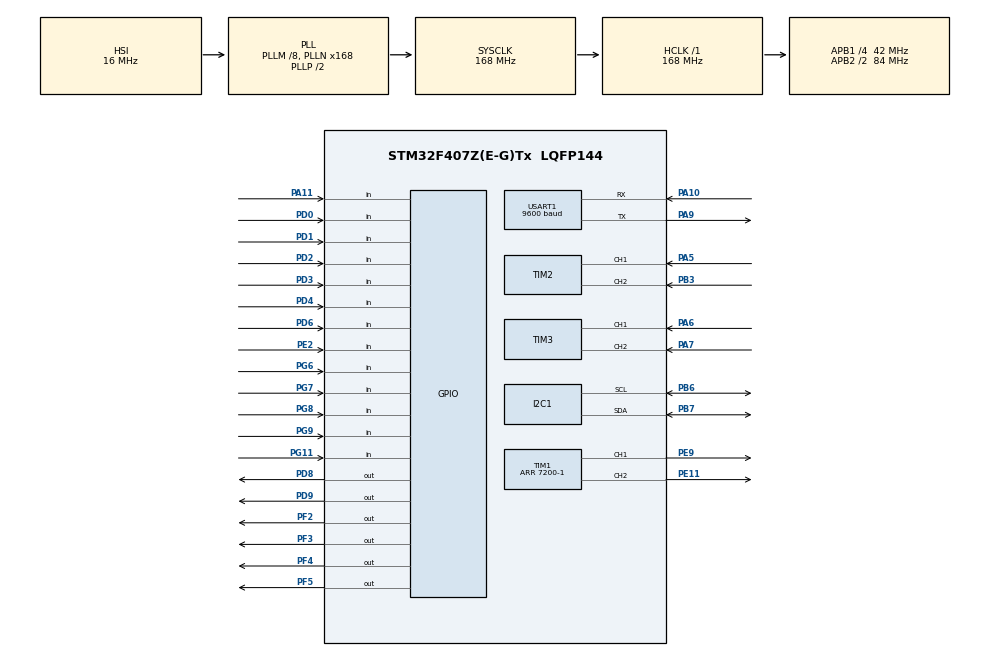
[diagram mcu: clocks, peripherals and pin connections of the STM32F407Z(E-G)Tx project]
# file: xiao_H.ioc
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I2C1.I2C_Mode=I2C_Fast
Mcu.Family=STM32F4
Mcu.Name=STM32F407Z(E-G)Tx
Mcu.Package=LQFP144
NVIC.PriorityGroup=NVIC_PRIORITYGROUP_4
NVIC.TIM4_IRQn=true\:0\:0\:false\:false\:true\:true\:true\:true
NVIC.USART1_IRQn=true\:0\:0\:false\:false\:true\:true\:true\:true
PA10.Mode=Asynchronous
PA10.Signal=USART1_RX
PA11.Signal=GPIO_Input
PA13.Mode=Serial_Wire
PA13.Signal=SYS_JTMS-SWDIO
PA14.Mode=Serial_Wire
PA14.Signal=SYS_JTCK-SWCLK
PA5.GPIO_PuPd=GPIO_PULLUP
PA5.GPIO_Speed=GPIO_SPEED_FREQ_HIGH
PA5.Signal=S_TIM2_CH1_ETR
PA6.GPIO_PuPd=GPIO_PULLUP
PA6.GPIO_Speed=GPIO_SPEED_FREQ_HIGH
PA6.Signal=S_TIM3_CH1
PA7.GPIO_PuPd=GPIO_PULLUP
PA7.GPIO_Speed=GPIO_SPEED_FREQ_HIGH
PA7.Signal=S_TIM3_CH2
PA9.Mode=Asynchronous
PA9.Signal=USART1_TX
PB3.GPIO_PuPd=GPIO_PULLUP
PB3.GPIO_Speed=GPIO_SPEED_FREQ_HIGH
PB3.Signal=S_TIM2_CH2
PB6.Mode=I2C
PB6.Signal=I2C1_SCL
PB7.Mode=I2C
PB7.Signal=I2C1_SDA
PD0.GPIO_PuPd=GPIO_PULLUP
PD0.Signal=GPIO_Input
PD1.GPIO_PuPd=GPIO_PULLUP
PD1.Signal=GPIO_Input
PD2.GPIO_PuPd=GPIO_PULLUP
PD2.Signal=GPIO_Input
PD3.GPIO_PuPd=GPIO_PULLUP
PD3.Signal=GPIO_Input
PD4.GPIO_PuPd=GPIO_PULLUP
PD4.Signal=GPIO_Input
PD6.Signal=GPIO_Input
PD8.Signal=GPIO_Output
PD9.Signal=GPIO_Output
PE11.Signal=S_TIM1_CH2
PE2.Signal=GPIO_Input
PE9.Signal=S_TIM1_CH1
PF2.Signal=GPIO_Output
PF3.Signal=GPIO_Output
PF4.Signal=GPIO_Output
PF5.Signal=GPIO_Output
PG11.Signal=GPIO_Input
PG6.Signal=GPIO_Input
PG7.Signal=GPIO_Input
PG8.Signal=GPIO_Input
PG9.Signal=GPIO_Input
PH0-OSC_IN.Mode=HSE-External-Oscillator
PH0-OSC_IN.Signal=RCC_OSC_IN
PH1-OSC_OUT.Mode=HSE-External-Oscillator
PH1-OSC_OUT.Signal=RCC_OSC_OUT
ProjectManager.HeapSize=0x200
ProjectManager.StackSize=0x400
ProjectManager.TargetToolchain=EWARM V8.50
RCC.48MHZClocksFreq_Value=84000000
RCC.AHBFreq_Value=168000000
RCC.APB1CLKDivider=RCC_HCLK_DIV4
RCC.APB1Freq_Value=42000000
RCC.APB1TimFreq_Value=84000000
RCC.APB2CLKDivider=RCC_HCLK_DIV2
RCC.APB2Freq_Value=84000000
RCC.APB2TimFreq_Value=168000000
RCC.CortexFreq_Value=168000000
RCC.HCLKFreq_Value=168000000
RCC.HSE_VALUE=8000000
RCC.HSI_VALUE=16000000
RCC.LSE_VALUE=32768
RCC.PLLM=8
RCC.PLLN=168
RCC.SYSCLKFreq_VALUE=168000000
RCC.SYSCLKSource=RCC_SYSCLKSOURCE_PLLCLK
RCC.VCOOutputFreq_Value=336000000
SH.S_TIM1_CH1.0=TIM1_CH1,PWM Generation1 CH1
SH.S_TIM1_CH2.0=TIM1_CH2,PWM Generation2 CH2
SH.S_TIM2_CH1_ETR.0=TIM2_CH1,Encoder_Interface
SH.S_TIM2_CH2.0=TIM2_CH2,Encoder_Interface
SH.S_TIM3_CH1.0=TIM3_CH1,Encoder_Interface
SH.S_TIM3_CH2.0=TIM3_CH2,Encoder_Interface
TIM1.Channel-PWM\ Generation1\ CH1=TIM_CHANNEL_1
TIM1.Channel-PWM\ Generation2\ CH2=TIM_CHANNEL_2
TIM1.Period=7200-1
TIM1.Pulse-PWM\ Generation1\ CH1=0
TIM1.Pulse-PWM\ Generation2\ CH2=0
TIM2.EncoderMode=TIM_ENCODERMODE_TI12
TIM3.EncoderMode=TIM_ENCODERMODE_TI12
TIM4.Period=50-1
TIM4.Prescaler=8400-1
USART1.BaudRate=9600
USART1.VirtualMode=VM_ASYNC
VP_TIM4_VS_ClockSourceINT.Mode=Internal
board=custom

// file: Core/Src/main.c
/* USER CODE BEGIN Header */
/**
  ******************************************************************************
  * @file           : main.c
  * @brief          : Main program body
  ******************************************************************************
  * @attention
  *
  * Copyright (c) 2025 STMicroelectronics.
  * All rights reserved.
  *
  * This software is licensed under terms that can be found in the LICENSE file
  * in the root directory of this software component.
  * If no LICENSE file comes with this software, it is provided AS-IS.
  *
  ******************************************************************************
  */
/* USER CODE END Header */
#include "main.h"
#include "i2c.h"
#include "tim.h"
#include "usart.h"
#include "gpio.h"

/* USER CODE BEGIN Includes */
#include "headfile.h"
#include "track.h"

/* USER CODE END Includes */

/* USER CODE BEGIN PD */
//char RxBuffer[256];
// uint8_t aRxBuffer;			//接收中断缓冲
// uint8_t Uart1_Rx_Cnt = 0;		//接收缓冲计数
uint8_t RxBuffer[1];//串口接收缓冲
uint8_t RxLine = 0;//指令长度
extern uint8_t DataBuff[200];//指令内容
/* USER CODE END PD */

void SystemClock_Config(void);
/* USER CODE BEGIN PFP */
void Angle_out(void);
void Angle_out_improve(void);

void Read(void);
void steering_ring(void);//转向�?
void Track_ring(void);//寻迹�?
void one_topic(void);
void two_topic(void);
void three(void);
void four_topic(void);
void eight(void);
/* USER CODE END PFP */

/* USER CODE BEGIN 0 */
//板子上的电机2的PID控制�?
PID_Controller left_pid = {
    .p=160.0f,
    .i=18.0f
};
//板子上的电机1的PID控制�?
PID_Controller right_pid = {
    .p=160.0f,
    .i=18.0f
};
//直走pid控制�?
PID_Controller yaw_pid={
    .p=1.0f,
    .d=1.5f
  };
//寻迹pid控制�?
PID_Controller track_pid_assignment={
//	.p=2.0f
    .p=3.0f,
    .d=5.5f,
};
__IO uint8_t InitOK = 0;
//串口重定�?
int fputc(int ch,FILE *f);
int fgetc(FILE *f);
//转向环变�?
int16_t flag;
int16_t straight_right;
int16_t straight_left;
int16_t pid_turn;
extern unsigned int  rawGyroZ;

//寻迹环变�?
int16_t track_turn,track_left,track_right;
//编码器�?�电�?
uint32_t sys_tick;
int Encoder1,Encoder2;
int Encoder1_last,Encoder2_last;
int16_t left,right,left_last,right_last;
int16_t L_Target_Position, L_Target_Speed;
extern int8_t track_sum;
//�?螺仪1
float yaww,yawl,yaw_init,yaw_out;
int Init_Angle_Flag=1;
float q0, q1, q2, q3;
float roll, pitch, yaw;
extern int8_t track_read[8];

float gyro_Z ;
//按键读高低电�?
struct keys{
  int8_t keys_read;
	int8_t keys_progres;
	int8_t keys_flag;
}key_pd[4]={0,0,0};

//int8_t track_assignment[8];
/* USER CODE END 0 */

int main(void)
{

  /* MCU Configuration--------------------------------------------------------*/

  /* Reset of all peripherals, Initializes the Flash interface and the Systick. */
  HAL_Init();

  /* Configure the system clock */
  SystemClock_Config();

  /* Initialize all configured peripherals */
  MX_GPIO_Init();
  MX_I2C1_Init();
  MX_TIM1_Init();
  MX_TIM2_Init();
  MX_TIM3_Init();
  MX_TIM4_Init();
  MX_USART1_UART_Init();
  /* USER CODE BEGIN 2 */
	//oled初始�?
	OLED_Init();
//	//电机
	HAL_TIM_PWM_Start(&htim1,TIM_CHANNEL_1);
	HAL_TIM_PWM_Start(&htim1,TIM_CHANNEL_2);
//	//编码�?
	HAL_TIM_Encoder_Start(&htim2,TIM_CHANNEL_ALL);
	HAL_TIM_Encoder_Start(&htim3,TIM_CHANNEL_ALL);
	//BNO085 IIC 初始�?
  HAL_UART_Receive_IT(&huart1, RxBuffer, 1);
//	 printf("Init OK!!!\r\n");
	// �?始校准（可�?�）
    // 重置传感�?
	softReset();
	enableRotationVector(2);       // 增加旋转矢量传感器的采样�?
//	enableGameRotationVector(50);  // 保持游戏旋转矢量传感器的采样�?
//	enableAccelerometer(50);       // 保持加�?�度计的采样�?
//	enableLinearAccelerometer(50); // 保持线�?�加速度计的采样�?
	enableGyro(100);                // 增加�?螺仪的采样率以提高精�?
//	enableMagnetometer(50);         // 降低磁力计的采样率以节省功�??
//	enableStepCounter(50);          // 降低步数计数器的采样�?
//	enableStabilityClassifier(50);  // 降低稳定性分类器的采样率
	calibrateAll();//全部校准

	//初始化完成，�?启中�?
	HAL_TIM_Base_Start_IT(&htim4);
  /* USER CODE END 2 */

  /* Infinite loop */
  /* USER CODE BEGIN WHILE */
//	Load(0,0);

//  L_Target_Speed=0;

 //L_Target_Position=30;

//		L_Target_Speed=0;

  while (1)
  {
//			Track_follow();

    flag=3;
    if(key_pd[0].keys_flag==1){three(); key_pd[0].keys_flag=0; }
//		if(One_Sensor1) {L_Target_Speed=0;}

//		HAL_Delay(1000);
//		L_Target_Speed=0;
//		HAL_Delay(1000);

//    else if(key_pd[1].keys_flag==0){OLED_ShowString(1,1,"stop  ");flag=3;Load(0,0); }

//    SendDataToVOFA(L_Target_Speed,Encoder1,Encoder2);

//    Track_follow();
//    Read();
    OLED_ShowString(2,1,"yaw:");
	  OLED_ShowSignedNum(2,5,yawl,3);
//	  OLED_ShowSignedNum(3,0,key_pd[0].keys_flag,3);
//	  OLED_ShowSignedNum(3,5,key_pd[1].keys_flag,3);
//	  OLED_ShowSignedNum(4,0,key_pd[2].keys_flag,3);
//	  OLED_ShowSignedNum(4,5,key_pd[3].keys_flag,3);
//	  OLED_ShowSignedNum(3,1,16-track_turn,4);
//	  OLED_ShowSignedNum(3,6,16+track_turn,4);
//		if (key_pd3.keys_falg == 1) {
//			L_Target_Speed = (L_Target_Speed == 0) ? 30 : 0;
//			key_pd3.keys_falg =0;
//		}
//	  OLED_ShowSignedNum(4,0,track_right,5);
//	  OLED_ShowSignedNum(4,7,track_left,5);

		//    Load(2000,2000);
    // SendDataToVOFA(L_Target_Speed,left,right);
    // topic=4;
//		 switch (key_pd[i])
//		 {
//			 case 1:
//			 {
//				 /* code */
//				 int8_t pattern;
//				 if(pattern==0)Load(500,500);
//				 for(int8_t i=0;i<=7;i++)
//				 {
//					 if(track_read[i]==0)
//					 {
//						 pattern=1;
//						 Load(0,0);
//					 }
//				 }
//				 break;
//			 }
//		 }

    /* USER CODE END WHILE */

  }
}

void SystemClock_Config(void)
{
  RCC_OscInitTypeDef RCC_OscInitStruct = {0};
  RCC_ClkInitTypeDef RCC_ClkInitStruct = {0};

  /** Configure the main internal regulator output voltage
  */
  __HAL_RCC_PWR_CLK_ENABLE();
  __HAL_PWR_VOLTAGESCALING_CONFIG(PWR_REGULATOR_VOLTAGE_SCALE1);

  /** Initializes the RCC Oscillators according to the specified parameters
  * in the RCC_OscInitTypeDef structure.
  */
  RCC_OscInitStruct.OscillatorType = RCC_OSCILLATORTYPE_HSI;
  RCC_OscInitStruct.HSIState = RCC_HSI_ON;
  RCC_OscInitStruct.HSICalibrationValue = RCC_HSICALIBRATION_DEFAULT;
  RCC_OscInitStruct.PLL.PLLState = RCC_PLL_ON;
  RCC_OscInitStruct.PLL.PLLSource = RCC_PLLSOURCE_HSI;
  RCC_OscInitStruct.PLL.PLLM = 8;
  RCC_OscInitStruct.PLL.PLLN = 168;
  RCC_OscInitStruct.PLL.PLLP = RCC_PLLP_DIV2;
  RCC_OscInitStruct.PLL.PLLQ = 4;
  if (HAL_RCC_OscConfig(&RCC_OscInitStruct) != HAL_OK)
  {
    Error_Handler();
  }

  /** Initializes the CPU, AHB and APB buses clocks
  */
  RCC_ClkInitStruct.ClockType = RCC_CLOCKTYPE_HCLK|RCC_CLOCKTYPE_SYSCLK
                              |RCC_CLOCKTYPE_PCLK1|RCC_CLOCKTYPE_PCLK2;
  RCC_ClkInitStruct.SYSCLKSource = RCC_SYSCLKSOURCE_PLLCLK;
  RCC_ClkInitStruct.AHBCLKDivider = RCC_SYSCLK_DIV1;
  RCC_ClkInitStruct.APB1CLKDivider = RCC_HCLK_DIV4;
  RCC_ClkInitStruct.APB2CLKDivider = RCC_HCLK_DIV2;

  if (HAL_RCC_ClockConfig(&RCC_ClkInitStruct, FLASH_LATENCY_5) != HAL_OK)
  {
    Error_Handler();
  }
}

/* USER CODE BEGIN 4 */
//串口
void HAL_UART_RxCpltCallback(UART_HandleTypeDef *huart)
{
  /* Prevent unused argument(s) compilation warning */
//  UNUSED(huart);
  /* NOTE: This function Should not be modified, when the callback is needed,
           the HAL_UART_TxCpltCallback could be implemented in the user file
   */
  if(huart->Instance == USART1)//如果是串�?2
  {
      RxLine++;                      //每接收到�?个数据，进入回调数据长度�?1
      DataBuff[RxLine-1]=RxBuffer[0];  //把每次接收到的数据保存到缓存数组
      if(RxBuffer[0]==0x21)            //接收结束标志位，这个数据可以自定义，根据实际�?求，这里只做示例使用，不�?定是0x21
      {
//          printf("RXLen=%d\r\n",RxLine);
          for(int i=0;i<RxLine;i++)
//              printf("UART DataBuff[%d] = %c\r\n",i,DataBuff[i]);
          USART_PID_Adjust(1);//数据解析和参数赋值函�?
          memset(DataBuff,0,sizeof(DataBuff));  //清空缓存数组
          RxLine=0;  //清空接收长度
      }
      RxBuffer[0]=0;
      HAL_UART_Receive_IT(&huart1, RxBuffer, 1); //每接收一个数据，就打�?�?次串口中断接收，否则只会接收�?个数据就停止接收
  }
}
//看编码器数据
void Read(void)
{
//	if(uwTick-sys_tick<10)
//		return;
//	sys_tick=uwTick;
	OLED_ShowSignedNum(1,3,Encoder1,3);
	OLED_ShowSignedNum(1,10,Encoder2,3);
}
//中断回调函数
void HAL_TIM_PeriodElapsedCallback(TIM_HandleTypeDef *htim)
{
	Encoder1=-Read_Speed(&htim2);
	Encoder2=Read_Speed(&htim3);

	Encoder2=0.8*Encoder2+0.2*Encoder2_last;
	Encoder1=0.8*Encoder1+0.2*Encoder1_last;
//
  if(flag==0)steering_ring();		//标志位为0，判断为转向环
  else if(flag==1)Track_ring();		//标志位为1，判断为寻迹环
//
	Encoder2_last=Encoder2;
	Encoder1_last=Encoder1;
//
////获取BNO085传感器数据
	if ( dataAvailable() )
  {
      q0 = getQuatReal();
      q1 = getQuatI();
      q2 = getQuatJ();
      q3 = getQuatK();
      yaw = atan2( 2 * ( q0 * q3 + q1 * q2 ) ,  1 - 2 * ( q2 * q2 + q3 * q3 ) ) * 57.3;
  }
  Angle_out();
  // 读取GPIOD端口上PIN_0到PIN_3的状态，并将读取的值分别存储在key_pd数组的keys_read成员中
  key_pd[0].keys_read = HAL_GPIO_ReadPin(GPIOD, GPIO_PIN_0); // 读取PIN_0的状态
  key_pd[1].keys_read = HAL_GPIO_ReadPin(GPIOD, GPIO_PIN_1); // 读取PIN_1的状态
  key_pd[2].keys_read = HAL_GPIO_ReadPin(GPIOD, GPIO_PIN_2); // 读取PIN_2的状态
  key_pd[3].keys_read = HAL_GPIO_ReadPin(GPIOD, GPIO_PIN_3); // 读取PIN_3的状态

  // 遍历key_pd数组中的每个按键，检查其状态并更新相应的进度和标志位
  for (int8_t i = 0; i < 4; i++) // 循环变量i从0开始，直到小于4（即遍历key_pd数组的前4个元素）
  {
      switch (key_pd[i].keys_progres) // 根据当前按键的进度状态进行不同的处理
      {
          case 0: // 当按键进度为0时
          {
              if (key_pd[i].keys_read == 0) // 如果按键被按下（假设低电平表示按下）
              {
                  key_pd[i].keys_progres = 1; // 将按键进度更新为1
              }
          } break;
          case 1: // 当按键进度为1时
          {
              if (key_pd[i].keys_read == 0) // 如果按键仍然被按下
              {
                  key_pd[i].keys_progres = 2; // 将按键进度更新为2
              }
              else
              {
                  key_pd[i].keys_progres = 0; // 如果按键被释放，将进度重置为0
              }
          } break;
          case 2: // 当按键进度为2时
          {
              if (key_pd[i].keys_read == 1) // 如果按键被释放（假设高电平表示释放）
              {
                  key_pd[i].keys_flag = 1; // 设置按键标志位为1，可能表示按键已经完成一次按下释放的操作
                  key_pd[i].keys_progres = 0; // 将按键进度重置为0
              }
          } break;
      }
  }
}
//角度矫正
void Angle_out(void)
{
		if(Init_Angle_Flag==1&&yaw!=0)
		{
				yaw_init=yaw;
			  Init_Angle_Flag=0;
	    }
		 yaww=yaw-yaw_init;

		 if(yaww>180)
		 {
			yaww=yaww-360;
		 }
		 else if(yaww<-180)
		 {
			yaww=yaww+360;
		 }
		 else
		 {
			 yaww=yaw-yaw_init;
		 }
		  yawl=yaww;
}
/*
void Angle_out(void)
{
//		if(Init_Angle_Flag==1&&yaw!=0)
//		{
//				yaw_init=yaw;
//
//			  Init_Angle_Flag=0;
//	   }
//		 yaww=yaw-yaw_init;

		if(Init_Angle_Flag==1)
		{
			Angle_out_improve();
	   }

//		 yaww=yaw-yaw_init;

		 if(yaww>180)
		 {
			yaww=yaww-360;
		 }
		 else if(yaww<-180)
		 {
			yaww=yaww+360;
		 }
//		 else
//		 {
//			 yaww=yaw-yaw_init;
//		 }
		  yawl=yaww;
}
void Angle_out_improve(void)
{
	static int16_t yaw_sum;
	static uint8_t figure;

	if(yaw!=0)
	{
		yaw_sum+=yaw;
		figure++;
	}
	yaww=yaw-yaw_sum/figure;
	if(figure==20)
	{
		Init_Angle_Flag=0;
	}

}
*/
//转向pid控制
void steering_ring(void)//转向�?
{
	pid_turn=turn_PID_yaw(&yaw_pid,yawl,L_Target_Position);

	straight_right=(int16_t)pid1(&right_pid,Encoder1,L_Target_Speed+pid_turn);//
	straight_left=(int16_t)pid1(&left_pid,Encoder2,L_Target_Speed-pid_turn);//

	if(straight_right>7200)straight_right=7200;
	if(straight_left>7200)straight_left=7200;
	if(straight_right<-7200)straight_right=-7200;
	if(straight_left<-7200)straight_left=-7200;

	Load(straight_left,straight_right);
}
//寻迹pid控制
void Track_ring(void)
{
	track_turn=track_pid(&track_pid_assignment,track_sum);

  track_left=(int16_t)pid1(&left_pid,Encoder2,30-track_turn);//
  track_right=(int16_t)pid1(&right_pid,Encoder1,30+track_turn);//

	if(track_left>7200)track_left=7200;
	if(track_right>7200)track_right=7200;
	if(track_right<-7200)track_right=-7200;
	if(track_left<-7200)track_left=-7200;

	Load(track_left,track_right);
}
//串口数据解析,重定向
int fputc(int ch, FILE *f)
{
	HAL_UART_Transmit(&huart1,(uint8_t *)&ch,1,100);
	return ch;
}

void one_topic(void)
{
  int8_t pattern;
	if(pattern==0)Load(500,500);
	for(int8_t i=0;i<=7;i++)
	{
		if(track_read[i]==0)
		{
			pattern=1;
      Load(0,0);
		}
	}
//  steering_ring(0,0);//转向�?
}

void three(void)
{
  while(1)
  {
    static uint8_t three_prosses=0;     //分成四部分
//    uint8_t black_cnt=0;        // 存储进入圆环次数
    OLED_ShowSignedNum(2,5,yawl,3);
    OLED_ShowSignedNum(3,5,three_prosses,3);
//    OLED_ShowSignedNum(3,5,L_Target_Position,3);
//    OLED_ShowSignedNum(4,5,pid_turn,3);
//		OLED_ShowSignedNum(1,5,One_Sensor1,3);
//		OLED_ShowSignedNum(3,5,L_Target_Position,3);
//		OLED_ShowSignedNum(4,5,three_prosses,3);

//    if(flag!=3){L_Target_Speed = 20;}
     Track_follow();
    switch(three_prosses)
    {
      //直行，调整角度，向圆环
      case 0:
      {
				L_Target_Speed=30;
				L_Target_Position=-38;
				flag=0;
				if(One_Sensor1)
				{
           three_prosses=1;
				}
      }break;
       // 识别黑线，先调整角度
      case 1:
      {
         L_Target_Speed=0;
         L_Target_Position=0;

         if((int16_t)yawl==0)
				 {
						three_prosses=2;
				 }
      }break;
      //第一次进入圆环，当全为白色，调整角度，直行
      case 2:
      {
        flag=1;       // 进入寻迹环
				if(All_Sensor1) //出寻迹环
				{
             three_prosses=3;
				}
      }break;
      case 3:
      {
        L_Target_Speed=30;
				L_Target_Position=-143;//调整角度

        flag=0;
        if(One_Sensor1)
        {
          flag=1;        //寻迹环
          three_prosses=4;
        }
      }break;
      //识别到全白，停止
      case 4:
      {
				if(All_Sensor1 && yawl<-130 && yawl>-179)
				{
					track_sum=-4;
				}
        if(All_Sensor1 && yawl <30 &&  yawl>-30)
        {
          // L_Target_Position=0;
          L_Target_Speed=0;
          pid_turn=0;
          flag=0;
          three_prosses=5;
        }
      }break;
      case 5:
      {
				flag=3;
        Load(0,0);
      }
    }

    // if(key_pd[1].keys_read==0){OLED_ShowString(1,1,"stop  ");flag=3;Load(0,0);break; }
  }
}

//绕八字
void eight(void)
{
  uint8_t topic=0;
  while(1)
  {
    switch(topic)
    {
      //直行，调整角度，向圆环
      case 0:
      {
        L_Target_Speed=20;
        L_Target_Position=-30;
        flag=0;
        if(One_Sensor1)
        {
          topic=1;
        }
      }break;
      // 识别黑线，先调整角度
      case 1:
      {
        L_Target_Speed=5;
        L_Target_Position=0;
        if((int16_t)yawl==0)
        {
            topic=2;
        }
      }break;
      //第一次进入圆环，当全为白色，调整角度，直行
      case 2:
      {
        flag=1;       // 进入寻迹环
        if(All_Sensor1)
        {
          flag=0;
          L_Target_Speed=20;
          L_Target_Position=-147;//调整角度
          topic=3;
        }
      }break;
      //当识别到黑线，第二次进入圆环
      case 3:
      {
        if(One_Sensor1)
        {
          L_Target_Speed=20;
          flag=1;        //寻迹环
          topic=4;
        }

        // if(All_Sensor1)
        // {
        //   flag=0;
        //   L_Target_Position=-173;
        // }
        // three_prosses=3;
      }break;
    }
  }
}
/* USER CODE END 4 */

void Error_Handler(void)
{
  __disable_irq();
  while (1)
  {
  }
}
